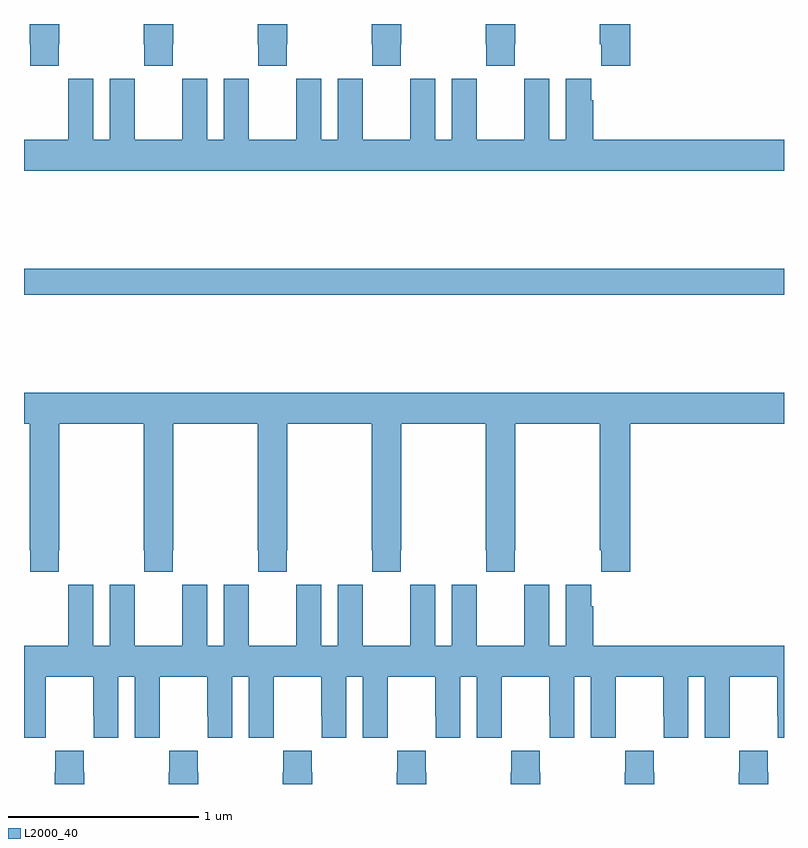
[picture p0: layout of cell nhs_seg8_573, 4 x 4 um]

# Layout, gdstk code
import gdstk
lib = gdstk.Library(unit=1e-6, precision=1e-09)
def R(c, l, rs):  # rectangles x0, y0, x1, y1
    for r in rs: c.add(gdstk.rectangle(r[:2], r[2:], *l))
def P(c, l, *ps):  # polygons
    for p in ps: c.add(gdstk.Polygon(p, *l))
L2000_40 = (2000, 40)

nhs_seg8_573 = lib.new_cell('nhs_seg8_573')
R(nhs_seg8_573, L2000_40, [(147,1154.476,151,1154.612)])
P(nhs_seg8_573, L2000_40, [(147.783,1155.793),(147.786,1155.793),(147.786,1155.9),(147.631,1155.9),(147.631,1155.793),(147.633,1155.793),(147.633,1155.681),(147.783,1155.681)],
  [(147.183,1155.793),(147.186,1155.793),(147.186,1155.9),(147.031,1155.9),(147.031,1155.793),(147.033,1155.793),(147.033,1155.681),(147.183,1155.681)],
  [(150.191,1155.9),(150.031,1155.9),(150.031,1155.793),(150.037,1155.793),(150.037,1155.681),(150.191,1155.681)],
  [(149.583,1155.793),(149.586,1155.793),(149.586,1155.9),(149.431,1155.9),(149.431,1155.793),(149.433,1155.793),(149.433,1155.681),(149.583,1155.681)],
  [(148.983,1155.793),(148.986,1155.793),(148.986,1155.9),(148.831,1155.9),(148.831,1155.793),(148.833,1155.793),(148.833,1155.681),(148.983,1155.681)],
  [(148.383,1155.793),(148.386,1155.793),(148.386,1155.9),(148.231,1155.9),(148.231,1155.793),(148.233,1155.793),(148.233,1155.681),(148.383,1155.681)],
  [(151,1155.292),(149.996,1155.292),(149.996,1155.5),(149.986,1155.5),(149.986,1155.613),(149.852,1155.613),(149.852,1155.292),(149.764,1155.292),(149.764,1155.613),(149.634,1155.613),(149.634,1155.5),(149.633,1155.5),(149.633,1155.292),(149.383,1155.292),(149.383,1155.5),(149.382,1155.5),(149.382,1155.613),(149.252,1155.613),(149.252,1155.292),(149.164,1155.292),(149.164,1155.613),(149.034,1155.613),(149.034,1155.5),(149.033,1155.5),(149.033,1155.292),(148.783,1155.292),(148.783,1155.5),(148.782,1155.5),(148.782,1155.613),(148.652,1155.613),(148.652,1155.292),(148.564,1155.292),(148.564,1155.613),(148.434,1155.613),(148.434,1155.5),(148.433,1155.5),(148.433,1155.292),(148.183,1155.292),(148.183,1155.5),(148.182,1155.5),(148.182,1155.613),(148.052,1155.613),(148.052,1155.292),(147.964,1155.292),(147.964,1155.613),(147.834,1155.613),(147.834,1155.5),(147.833,1155.5),(147.833,1155.292),(147.583,1155.292),(147.583,1155.5),(147.582,1155.5),(147.582,1155.613),(147.452,1155.613),(147.452,1155.292),(147.364,1155.292),(147.364,1155.613),(147.234,1155.613),(147.234,1155.5),(147.233,1155.5),(147.233,1155.292),(147,1155.292),(147,1155.128),(151,1155.128)],
  [(147.183,1153.129),(147.186,1153.129),(147.186,1153.796),(147.631,1153.796),(147.631,1153.129),(147.633,1153.129),(147.633,1153.017),(147.783,1153.017),(147.783,1153.129),(147.786,1153.129),(147.786,1153.796),(148.231,1153.796),(148.231,1153.129),(148.233,1153.129),(148.233,1153.017),(148.383,1153.017),(148.383,1153.129),(148.386,1153.129),(148.386,1153.796),(148.831,1153.796),(148.831,1153.129),(148.833,1153.129),(148.833,1153.017),(148.983,1153.017),(148.983,1153.129),(148.986,1153.129),(148.986,1153.796),(149.431,1153.796),(149.431,1153.129),(149.433,1153.129),(149.433,1153.017),(149.583,1153.017),(149.583,1153.129),(149.586,1153.129),(149.586,1153.796),(150.031,1153.796),(150.031,1153.129),(150.037,1153.129),(150.037,1153.017),(150.191,1153.017),(150.191,1153.796),(151,1153.796),(151,1153.96),(147,1153.96),(147,1153.796),(147.031,1153.796),(147.031,1153.129),(147.033,1153.129),(147.033,1153.017),(147.183,1153.017)],
  [(147.114,1152.256),(147.115,1152.256),(147.115,1152.464),(147.365,1152.464),(147.365,1152.256),(147.366,1152.256),(147.366,1152.144),(147.496,1152.144),(147.496,1152.464),(147.584,1152.464),(147.584,1152.144),(147.714,1152.144),(147.714,1152.256),(147.715,1152.256),(147.715,1152.464),(147.965,1152.464),(147.965,1152.256),(147.966,1152.256),(147.966,1152.144),(148.096,1152.144),(148.096,1152.464),(148.184,1152.464),(148.184,1152.144),(148.314,1152.144),(148.314,1152.256),(148.315,1152.256),(148.315,1152.464),(148.565,1152.464),(148.565,1152.256),(148.566,1152.256),(148.566,1152.144),(148.696,1152.144),(148.696,1152.464),(148.784,1152.464),(148.784,1152.144),(148.914,1152.144),(148.914,1152.256),(148.915,1152.256),(148.915,1152.464),(149.165,1152.464),(149.165,1152.256),(149.166,1152.256),(149.166,1152.144),(149.296,1152.144),(149.296,1152.464),(149.384,1152.464),(149.384,1152.144),(149.514,1152.144),(149.514,1152.256),(149.515,1152.256),(149.515,1152.464),(149.765,1152.464),(149.765,1152.256),(149.766,1152.256),(149.766,1152.144),(149.896,1152.144),(149.896,1152.464),(149.984,1152.464),(149.984,1152.144),(150.114,1152.144),(150.114,1152.256),(150.115,1152.256),(150.115,1152.464),(150.365,1152.464),(150.365,1152.256),(150.366,1152.256),(150.366,1152.144),(150.496,1152.144),(150.496,1152.464),(150.584,1152.464),(150.584,1152.144),(150.714,1152.144),(150.714,1152.256),(150.715,1152.256),(150.715,1152.464),(150.965,1152.464),(150.965,1152.256),(150.966,1152.256),(150.966,1152.144),(151,1152.144),(151,1152.628),(149.996,1152.628),(149.996,1152.836),(149.986,1152.836),(149.986,1152.949),(149.852,1152.949),(149.852,1152.628),(149.764,1152.628),(149.764,1152.949),(149.634,1152.949),(149.634,1152.836),(149.633,1152.836),(149.633,1152.628),(149.383,1152.628),(149.383,1152.836),(149.382,1152.836),(149.382,1152.949),(149.252,1152.949),(149.252,1152.628),(149.164,1152.628),(149.164,1152.949),(149.034,1152.949),(149.034,1152.836),(149.033,1152.836),(149.033,1152.628),(148.783,1152.628),(148.783,1152.836),(148.782,1152.836),(148.782,1152.949),(148.652,1152.949),(148.652,1152.628),(148.564,1152.628),(148.564,1152.949),(148.434,1152.949),(148.434,1152.836),(148.433,1152.836),(148.433,1152.628),(148.183,1152.628),(148.183,1152.836),(148.182,1152.836),(148.182,1152.949),(148.052,1152.949),(148.052,1152.628),(147.964,1152.628),(147.964,1152.949),(147.834,1152.949),(147.834,1152.836),(147.833,1152.836),(147.833,1152.628),(147.583,1152.628),(147.583,1152.836),(147.582,1152.836),(147.582,1152.949),(147.452,1152.949),(147.452,1152.628),(147.364,1152.628),(147.364,1152.949),(147.234,1152.949),(147.234,1152.836),(147.233,1152.836),(147.233,1152.628),(147,1152.628),(147,1152.144),(147.114,1152.144)],
  [(150.918,1151.963),(150.915,1151.963),(150.915,1152.076),(150.765,1152.076),(150.765,1151.963),(150.763,1151.963),(150.763,1151.9),(150.918,1151.9)],
  [(147.318,1151.963),(147.315,1151.963),(147.315,1152.076),(147.165,1152.076),(147.165,1151.963),(147.163,1151.963),(147.163,1151.9),(147.318,1151.9)],
  [(147.918,1151.963),(147.915,1151.963),(147.915,1152.076),(147.765,1152.076),(147.765,1151.963),(147.763,1151.963),(147.763,1151.9),(147.918,1151.9)],
  [(148.518,1151.963),(148.515,1151.963),(148.515,1152.076),(148.365,1152.076),(148.365,1151.963),(148.363,1151.963),(148.363,1151.9),(148.518,1151.9)],
  [(149.118,1151.963),(149.115,1151.963),(149.115,1152.076),(148.965,1152.076),(148.965,1151.963),(148.963,1151.963),(148.963,1151.9),(149.118,1151.9)],
  [(149.718,1151.963),(149.715,1151.963),(149.715,1152.076),(149.565,1152.076),(149.565,1151.963),(149.563,1151.963),(149.563,1151.9),(149.718,1151.9)],
  [(150.318,1151.963),(150.315,1151.963),(150.315,1152.076),(150.165,1152.076),(150.165,1151.963),(150.163,1151.963),(150.163,1151.9),(150.318,1151.9)])

lib.write_gds('nhs_seg8_573.gds')
